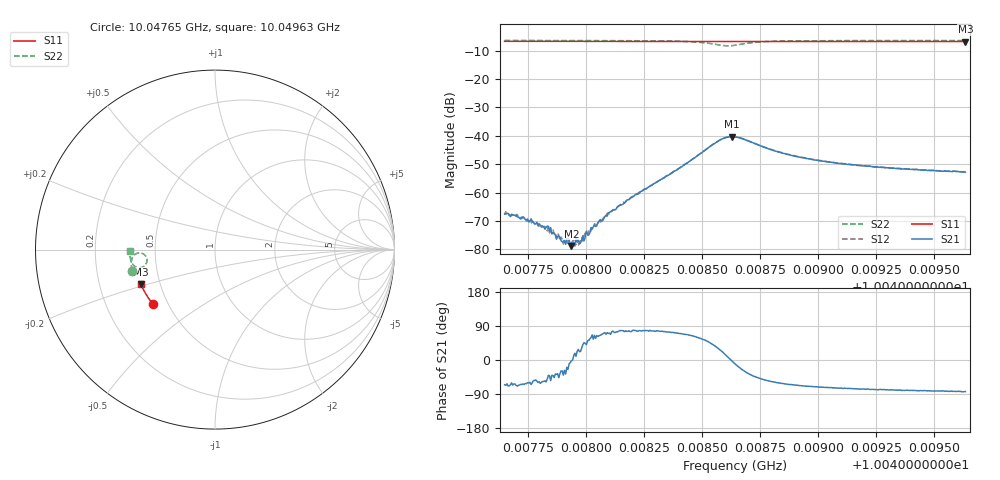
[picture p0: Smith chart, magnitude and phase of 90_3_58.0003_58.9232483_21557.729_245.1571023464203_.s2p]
#  HZ  S  RI  R  50.00
! Rohde & Schwarz Vector Network Analyzer
! Rohde-Schwarz,ZNB20-2Port,1311601062101988,3.16
! Created: UTC 3/21/2024, 12:54:16 AM
! freq[Hz]  re:S11  im:S11  re:S21  im:S21  re:S12  im:S12  re:S22  im:S22
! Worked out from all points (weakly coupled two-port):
!   401 points, 10.04765 GHz to 10.04963 GHz, reference 50 ohm
!   highest |S21| = -40.30 dB at 10.04863 GHz (marker M1); lowest = -78.8 dB at 10.04794 GHz (marker M2)
!   lowest |S11| = -6.8 dB at 10.04963 GHz (marker M3), VSWR 2.68, Z = 19.4 - j9.48 ohm
!   |S11| at or under -10 dB: nowhere
!   |S22| runs from -8.3 to -6.4 dB; largest |S21 - S12| = 0.00068
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1.0047649e10  -0.3449 -0.3042  0.000174 -0.000378  0.000194 -0.000363  -0.4619 -0.1169
1.0047729e10  -0.3483 -0.3002  0.000168 -0.000334  0.000189 -0.000312  -0.4631 -0.1111
1.0047754e10  -0.3492 -0.299  0.00015 -0.000265  0.000172 -0.00027  -0.4633 -0.1093
1.0047818e10  -0.3519 -0.2954  0.000137 -0.000208  0.000156 -0.000199  -0.4641 -0.1042
1.0047838e10  -0.3528 -0.2944  0.000194 -0.000165  0.000168 -0.000182  -0.4646 -0.1026
1.0047863e10  -0.3538 -0.2932  0.000133 -0.000138  0.00015 -0.000112  -0.4647 -0.1005
1.0047902e10  -0.3555 -0.291  0.000106 -8.93e-05  0.000118 -3.97e-05  -0.4652 -0.0975
1.0047917e10  -0.356 -0.2902  0.000141 -4.96e-05  0.000144 -3.5e-05  -0.4653 -0.0962
1.0047937e10  -0.3569 -0.2892  0.000115 -3.49e-06  0.000126 2.28e-05  -0.4655 -0.0945
1.0047962e10  -0.3577 -0.2878  0.000122 5.19e-05  0.000118 4.79e-05  -0.4659 -0.0925
1.0047982e10  -0.3587 -0.2869  0.000124 7.9e-05  0.000127 9.88e-05  -0.4661 -0.0908
1.0048032e10  -0.3606 -0.2842  0.000143 0.000204  0.000107 0.000219  -0.4662 -0.0864
1.0048106e10  -0.3635 -0.2803  0.000177 0.000427  0.000114 0.000442  -0.4668 -0.0797
1.0048314e10  -0.3716 -0.2689  0.000385 0.00157  0.000297 0.00161  -0.4644 -0.0554
1.0048473e10  -0.3771 -0.2598  0.00204 0.00374  0.00184 0.00381  -0.4461 -0.0269
1.0048572e10  -0.3802 -0.2542  0.00716 0.00401  0.00691 0.00444  -0.3972 -0.0253
1.0048627e10  -0.3819 -0.2515  0.00966 -0.000293  0.00968 0.00034  -0.3796 -0.0668
1.0048642e10  -0.3822 -0.2508  0.00942 -0.00169  0.00955 -0.00103  -0.384 -0.079
1.004883e10  -0.3892 -0.2406  0.00256 -0.00449  0.00283 -0.00439  -0.4559 -0.0846
1.0048974e10  -0.3941 -0.2322  0.0013 -0.00359  0.00152 -0.00357  -0.4673 -0.0643
1.0049307e10  -0.4044 -0.2126  0.00051 -0.00265  0.000684 -0.00266  -0.4739 -0.0323
1.0049634e10  -0.4136 -0.1931  0.000267 -0.00227  0.000401 -0.00231  -0.4754 -0.00686
